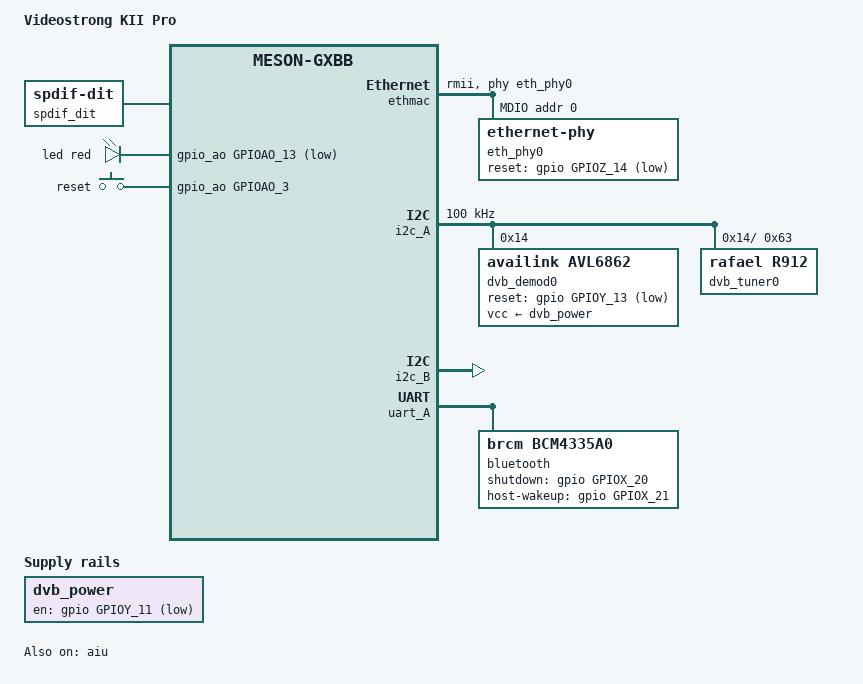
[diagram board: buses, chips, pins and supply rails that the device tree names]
// SPDX-License-Identifier: (GPL-2.0+ OR MIT)
/*
 * Copyright (c) 2019 Mohammad Rasim <mohammad.rasim96@gmail.com>
 */

/dts-v1/;

#include "meson-gxbb-p20x.dtsi"
#include <dt-bindings/gpio/gpio.h>
#include <dt-bindings/input/input.h>
#include <dt-bindings/leds/common.h>
#include <dt-bindings/sound/meson-aiu.h>

/ {
	compatible = "videostrong,kii-pro", "amlogic,meson-gxbb";
	model = "Videostrong KII Pro";

	spdif_dit: audio-codec-0 {
		#sound-dai-cells = <0>;
		compatible = "linux,spdif-dit";
		sound-name-prefix = "DIT";
	};

	leds {
		compatible = "gpio-leds";
		led {
			gpios = <&gpio_ao GPIOAO_13 GPIO_ACTIVE_LOW>;
			color = <LED_COLOR_ID_RED>;
			function = LED_FUNCTION_STATUS;
			default-state = "off";
		};
	};

	gpio-keys-polled {
		compatible = "gpio-keys-polled";
		poll-interval = <20>;

		button-reset {
			label = "reset";
			linux,code = <KEY_POWER>;
			gpios = <&gpio_ao GPIOAO_3 GPIO_ACTIVE_HIGH>;
		};
	};

	sound {
		compatible = "amlogic,gx-sound-card";
		model = "KII-PRO";
		clocks = <&clkc CLKID_MPLL0>,
			 <&clkc CLKID_MPLL1>,
			 <&clkc CLKID_MPLL2>;

		assigned-clocks = <&clkc CLKID_MPLL0>,
				  <&clkc CLKID_MPLL1>,
				  <&clkc CLKID_MPLL2>;
		assigned-clock-rates = <294912000>,
				       <270950400>,
				       <393216000>;

		dai-link-0 {
			sound-dai = <&aiu AIU_CPU CPU_I2S_FIFO>;
		};

		dai-link-1 {
			sound-dai = <&aiu AIU_CPU CPU_SPDIF_FIFO>;
		};

		dai-link-2 {
			sound-dai = <&aiu AIU_CPU CPU_I2S_ENCODER>;
			dai-format = "i2s";
			mclk-fs = <256>;

			codec-0 {
				sound-dai = <&aiu AIU_HDMI CTRL_I2S>;
			};
		};

		dai-link-3 {
			sound-dai = <&aiu AIU_CPU CPU_SPDIF_ENCODER>;

			codec-0 {
				sound-dai = <&spdif_dit>;
			};
		};

		dai-link-4 {
			sound-dai = <&aiu AIU_HDMI CTRL_OUT>;

			codec-0 {
				sound-dai = <&hdmi_tx>;
			};
		};
	};

	dvb_power: dvb-power {
		compatible = "regulator-fixed";
		regulator-name = "dvb-power";
		gpios = <&gpio GPIOY_11 GPIO_ACTIVE_LOW>
		regulator-always-on;
	};
};

&aiu {
	status = "okay";
	pinctrl-0 = <&spdif_out_y_pins>;
	pinctrl-names = "default";
};

&cbus {
	dvb: dvb@5800 {
		/* DVB demux + AsyncFIFO */
		compatible = "amlogic,gxbb-dvb";

		reg = <0x0 0x5800 0x0 0x400>,
		      <0x0 0xa000 0x0 0x100>;
		reg-names = "ts", "async-fifo";

		interrupts = <GIC_SPI 23 IRQ_TYPE_EDGE_RISING>,
			    <GIC_SPI 5 IRQ_TYPE_EDGE_RISING>,
			    <GIC_SPI 53 IRQ_TYPE_EDGE_RISING>,
			    <GIC_SPI 19 IRQ_TYPE_EDGE_RISING>,
			    <GIC_SPI 25 IRQ_TYPE_EDGE_RISING>;
		interrupt-names = "demux0", "demux1", "demux2", "dvr0", "dvr1";

		clocks = <&clkc CLKID_DEMUX>;
		clock-names = "demux";

		status = "disabled";

		pinctrl-names = "default";
		pinctrl-0 = <&dvb_p_ts0_pins>;

		dmx0_ts = <0>;

		tsin@0 {
			ts-control = <0>;
			ts-serial = <0>;
		};

		frontend@0 {
			compatible = "amlogic,dvb-fe";

			demod-dev = <&dvb_demod0>;
			tuner-dev = <&dvb_tuner0>;
		};
	};
};

&ethmac {
	status = "okay";
	pinctrl-0 = <&eth_rmii_pins>;
	pinctrl-names = "default";

	phy-handle = <&eth_phy0>;
	phy-mode = "rmii";

	mdio {
		compatible = "snps,dwmac-mdio";
		#address-cells = <1>;
		#size-cells = <0>;

		eth_phy0: ethernet-phy@0 {
			/* IC Plus IP101GR (0x02430c54) */
			reg = <0>;
			reset-assert-us = <10000>;
			reset-deassert-us = <10000>;
			reset-gpios = <&gpio GPIOZ_14 GPIO_ACTIVE_LOW>;
		};
	};
};

&ir {
	linux,rc-map-name = "rc-videostrong-kii-pro";
};

&i2c_A {
	status = "okay";
	pinctrl-0 = <&i2c_a_pins>;
	pinctrl-names = "default";
	clock-frequency = <100000>;
	clocks = <&clkc CLKID_I2C>;

	dvb_demod0: dvb-demod0@14 {
		compatible = "availink,avl6862";
		reg = <0x14>;
		status = "okay";

		reset-gpios = <&gpio GPIOY_13 GPIO_ACTIVE_LOW>;
		vcc-supply = <&dvb_power>;

		i2c-gate {
			#address-cells = <1>;
			#size-cells = <0>;

			dvb_tuner0: dvb-tuner@7a {
				compatible = "rafael,r912";
				reg = <0x63>;
			};
		};
	};
};

&i2c_B {
	status = "okay";
	pinctrl-0 = <&i2c_b_pins>;
	pinctrl-names = "default";
};

&uart_A {
	status = "okay";
	pinctrl-0 = <&uart_a_pins>, <&uart_a_cts_rts_pins>;
	pinctrl-names = "default";
	uart-has-rtscts;

	bluetooth {
		compatible = "brcm,bcm4335a0";
		shutdown-gpios = <&gpio GPIOX_20 GPIO_ACTIVE_HIGH>;
		host-wakeup-gpios = <&gpio GPIOX_21 GPIO_ACTIVE_HIGH>;
		max-speed = <2000000>;
		clocks = <&wifi32k>;
		clock-names = "lpo";
	};
};
